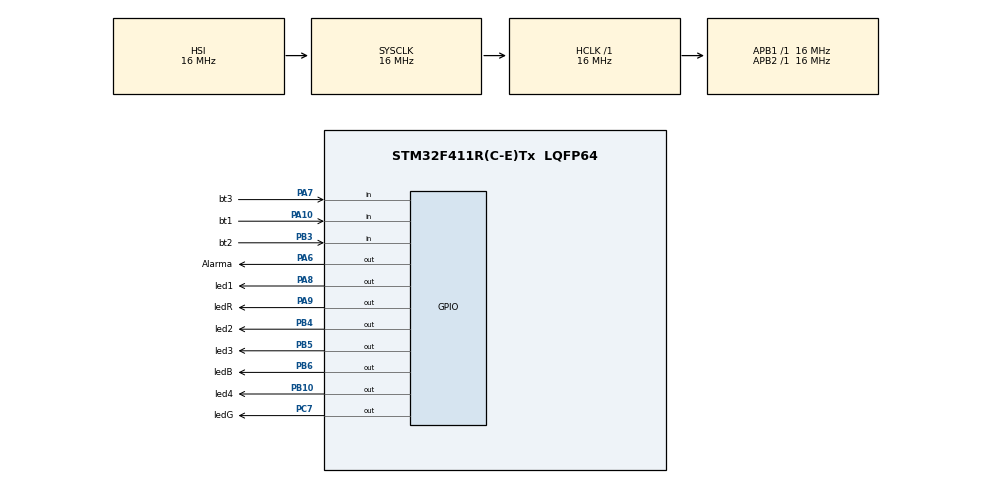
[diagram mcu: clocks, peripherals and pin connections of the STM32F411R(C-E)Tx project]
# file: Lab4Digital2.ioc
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Mcu.Family=STM32F4
Mcu.Name=STM32F411R(C-E)Tx
Mcu.Package=LQFP64
NVIC.PriorityGroup=NVIC_PRIORITYGROUP_4
PA10.GPIO_Label=bt1
PA10.GPIO_PuPd=GPIO_PULLDOWN
PA10.Signal=GPIO_Input
PA6.GPIO_Label=Alarma
PA6.Signal=GPIO_Output
PA7.GPIO_Label=bt3
PA7.GPIO_PuPd=GPIO_PULLDOWN
PA7.Signal=GPIO_Input
PA8.GPIO_Label=led1
PA8.Signal=GPIO_Output
PA9.GPIO_Label=ledR
PA9.Signal=GPIO_Output
PB10.GPIO_Label=led4
PB10.Signal=GPIO_Output
PB3.GPIO_Label=bt2
PB3.GPIO_PuPd=GPIO_PULLDOWN
PB3.Signal=GPIO_Input
PB4.GPIO_Label=led2
PB4.Signal=GPIO_Output
PB5.GPIO_Label=led3
PB5.Signal=GPIO_Output
PB6.GPIO_Label=ledB
PB6.Signal=GPIO_Output
PC7.GPIO_Label=ledG
PC7.Signal=GPIO_Output
ProjectManager.HeapSize=0x200
ProjectManager.StackSize=0x400
ProjectManager.TargetToolchain=STM32CubeIDE
RCC.AHBFreq_Value=16000000
RCC.APB1Freq_Value=16000000
RCC.APB2Freq_Value=16000000
RCC.CortexFreq_Value=16000000
RCC.HSE_VALUE=25000000
RCC.HSI_VALUE=16000000
RCC.LSE_VALUE=32768
RCC.SYSCLKFreq_VALUE=16000000
RCC.VCOOutputFreq_Value=192000000
board=NUCLEO-F411RE

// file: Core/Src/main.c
/* USER CODE BEGIN Header */
/**
  ******************************************************************************
  * @file           : main.c
  * @brief          : Main program body
  ******************************************************************************
  * @attention
  *
  * Copyright (c) 2026 STMicroelectronics.
  * All rights reserved.
  *
  * This software is licensed under terms that can be found in the LICENSE file
  * in the root directory of this software component.
  * If no LICENSE file comes with this software, it is provided AS-IS.
  *
  ******************************************************************************
  */
/* USER CODE END Header */
#include "main.h"

/* USER CODE BEGIN PV */
int contador=0;
int contadorRGB=0;
int estadoB1=0;
int estadoB2=0;
int estadoB3=0;
int antR=0;
int antR2=0;
int antR3=0;
int stage=0;

uint8_t dec[5][4]={
  {0,0,0,0},
  {0,0,0,1},
  {0,0,1,0},
  {0,1,0,0},
  {1,0,0,0}
};

uint8_t RGB[7][3]={
	{0,0,0},
	{1,0,0},
	{1,0,1},
	{0,0,1},
	{0,1,1},
	{0,1,0},
	{1,1,0},

};

/* USER CODE END PV */

void SystemClock_Config(void);
static void MX_GPIO_Init(void);
/* USER CODE BEGIN PFP */
void deca(int valor);
void ledrgb(int valor);

/* USER CODE END PFP */

int main(void)
{

  /* MCU Configuration--------------------------------------------------------*/

  /* Reset of all peripherals, Initializes the Flash interface and the Systick. */
  HAL_Init();

  /* Configure the system clock */
  SystemClock_Config();

  /* Initialize all configured peripherals */
  MX_GPIO_Init();

  /* Infinite loop */
  /* USER CODE BEGIN WHILE */
  while (1)
  {

	  estadoB1=HAL_GPIO_ReadPin(bt1_GPIO_Port,bt1_Pin);
	  estadoB2=HAL_GPIO_ReadPin(bt2_GPIO_Port,bt2_Pin);
	  estadoB3=HAL_GPIO_ReadPin(bt3_GPIO_Port,bt3_Pin);

	  if (estadoB1==1){
		  antR=1;
	  }
	  if (estadoB1==0 && antR==1){
		  stage++;
		  antR=0;
		  if (stage>2){
			  stage=1;
		  }
	  }
	  if (stage==1){
			HAL_GPIO_WritePin(ledR_GPIO_Port, ledR_Pin, 0);
			HAL_GPIO_WritePin(ledG_GPIO_Port, ledG_Pin, 0);
			HAL_GPIO_WritePin(ledB_GPIO_Port, ledB_Pin, 0);
			HAL_GPIO_WritePin(Alarma_GPIO_Port, Alarma_Pin, 0);

		  if(estadoB2==1){
			  antR2=1;
		  }
		  if (estadoB2==0 && antR2==1){
			  contador++;
			  antR2=0;
			  if (contador>4){
				  contador=0;

			  }
		  }
		  if (estadoB3==1){
			  antR3=1;
		  }
		  if (estadoB3==0 && antR3==1){
			  contador--;
			  antR3=0;
			  if (contador<0){
				 contador=4;
			  }
		  }
	  	 deca(contador);
	  }
	  else if (stage==2){
		  HAL_GPIO_WritePin(led1_GPIO_Port, led1_Pin, 0);
		  HAL_GPIO_WritePin(led2_GPIO_Port, led2_Pin, 0);
		  HAL_GPIO_WritePin(led3_GPIO_Port, led3_Pin, 0);
		  HAL_GPIO_WritePin(led4_GPIO_Port, led4_Pin, 0);
		  HAL_GPIO_WritePin(Alarma_GPIO_Port, Alarma_Pin, 1);

		  if(estadoB2==1){
			  antR2=1;
		  }
		  if (estadoB2==0 && antR2==1){
			  contadorRGB++;
			  antR2=0;
			  if (contadorRGB>6){
				  contadorRGB=6;

			  }
		  }
		  if (estadoB3==1){
			  antR3=1;
		  }
		  if (estadoB3==0 && antR3==1){
			  contadorRGB--;
			  antR3=0;
			  if (contadorRGB<0){
				 contadorRGB=0;
			  }
		  }
		   ledrgb(contadorRGB);
	  }
    /* USER CODE END WHILE */

  }
}

void SystemClock_Config(void)
{
  RCC_OscInitTypeDef RCC_OscInitStruct = {0};
  RCC_ClkInitTypeDef RCC_ClkInitStruct = {0};

  /** Configure the main internal regulator output voltage
  */
  __HAL_RCC_PWR_CLK_ENABLE();
  __HAL_PWR_VOLTAGESCALING_CONFIG(PWR_REGULATOR_VOLTAGE_SCALE1);

  /** Initializes the RCC Oscillators according to the specified parameters
  * in the RCC_OscInitTypeDef structure.
  */
  RCC_OscInitStruct.OscillatorType = RCC_OSCILLATORTYPE_HSI;
  RCC_OscInitStruct.HSIState = RCC_HSI_ON;
  RCC_OscInitStruct.HSICalibrationValue = RCC_HSICALIBRATION_DEFAULT;
  RCC_OscInitStruct.PLL.PLLState = RCC_PLL_NONE;
  if (HAL_RCC_OscConfig(&RCC_OscInitStruct) != HAL_OK)
  {
    Error_Handler();
  }

  /** Initializes the CPU, AHB and APB buses clocks
  */
  RCC_ClkInitStruct.ClockType = RCC_CLOCKTYPE_HCLK|RCC_CLOCKTYPE_SYSCLK
                              |RCC_CLOCKTYPE_PCLK1|RCC_CLOCKTYPE_PCLK2;
  RCC_ClkInitStruct.SYSCLKSource = RCC_SYSCLKSOURCE_HSI;
  RCC_ClkInitStruct.AHBCLKDivider = RCC_SYSCLK_DIV1;
  RCC_ClkInitStruct.APB1CLKDivider = RCC_HCLK_DIV1;
  RCC_ClkInitStruct.APB2CLKDivider = RCC_HCLK_DIV1;

  if (HAL_RCC_ClockConfig(&RCC_ClkInitStruct, FLASH_LATENCY_0) != HAL_OK)
  {
    Error_Handler();
  }
}

static void MX_GPIO_Init(void)
{
  GPIO_InitTypeDef GPIO_InitStruct = {0};

  /* GPIO Ports Clock Enable */
  __HAL_RCC_GPIOA_CLK_ENABLE();
  __HAL_RCC_GPIOB_CLK_ENABLE();
  __HAL_RCC_GPIOC_CLK_ENABLE();

  /*Configure GPIO pin Output Level */
  HAL_GPIO_WritePin(GPIOA, Alarma_Pin|led1_Pin|ledR_Pin, GPIO_PIN_RESET);

  /*Configure GPIO pin Output Level */
  HAL_GPIO_WritePin(GPIOB, led4_Pin|led2_Pin|led3_Pin|ledB_Pin, GPIO_PIN_RESET);

  /*Configure GPIO pin Output Level */
  HAL_GPIO_WritePin(ledG_GPIO_Port, ledG_Pin, GPIO_PIN_RESET);

  /*Configure GPIO pins : Alarma_Pin led1_Pin ledR_Pin */
  GPIO_InitStruct.Pin = Alarma_Pin|led1_Pin|ledR_Pin;
  GPIO_InitStruct.Mode = GPIO_MODE_OUTPUT_PP;
  GPIO_InitStruct.Pull = GPIO_NOPULL;
  GPIO_InitStruct.Speed = GPIO_SPEED_FREQ_LOW;
  HAL_GPIO_Init(GPIOA, &GPIO_InitStruct);

  /*Configure GPIO pins : bt3_Pin bt1_Pin */
  GPIO_InitStruct.Pin = bt3_Pin|bt1_Pin;
  GPIO_InitStruct.Mode = GPIO_MODE_INPUT;
  GPIO_InitStruct.Pull = GPIO_PULLDOWN;
  HAL_GPIO_Init(GPIOA, &GPIO_InitStruct);

  /*Configure GPIO pins : led4_Pin led2_Pin led3_Pin ledB_Pin */
  GPIO_InitStruct.Pin = led4_Pin|led2_Pin|led3_Pin|ledB_Pin;
  GPIO_InitStruct.Mode = GPIO_MODE_OUTPUT_PP;
  GPIO_InitStruct.Pull = GPIO_NOPULL;
  GPIO_InitStruct.Speed = GPIO_SPEED_FREQ_LOW;
  HAL_GPIO_Init(GPIOB, &GPIO_InitStruct);

  /*Configure GPIO pin : ledG_Pin */
  GPIO_InitStruct.Pin = ledG_Pin;
  GPIO_InitStruct.Mode = GPIO_MODE_OUTPUT_PP;
  GPIO_InitStruct.Pull = GPIO_NOPULL;
  GPIO_InitStruct.Speed = GPIO_SPEED_FREQ_LOW;
  HAL_GPIO_Init(ledG_GPIO_Port, &GPIO_InitStruct);

  /*Configure GPIO pin : bt2_Pin */
  GPIO_InitStruct.Pin = bt2_Pin;
  GPIO_InitStruct.Mode = GPIO_MODE_INPUT;
  GPIO_InitStruct.Pull = GPIO_PULLDOWN;
  HAL_GPIO_Init(bt2_GPIO_Port, &GPIO_InitStruct);

}

/* USER CODE BEGIN 4 */
void deca(int valor){
		HAL_GPIO_WritePin(led1_GPIO_Port, led1_Pin, dec[valor][0]);
		HAL_GPIO_WritePin(led2_GPIO_Port, led2_Pin, dec[valor][1]);
		HAL_GPIO_WritePin(led3_GPIO_Port, led3_Pin, dec[valor][2]);
		HAL_GPIO_WritePin(led4_GPIO_Port, led4_Pin, dec[valor][3]);
	}
void ledrgb(int valor){
	HAL_GPIO_WritePin(ledR_GPIO_Port, ledR_Pin, RGB[valor][0]);
	HAL_GPIO_WritePin(ledG_GPIO_Port, ledG_Pin, RGB[valor][1]);
	HAL_GPIO_WritePin(ledB_GPIO_Port, ledB_Pin, RGB[valor][2]);
}

/* USER CODE END 4 */

void Error_Handler(void)
{
  __disable_irq();
  while (1)
  {
  }
}
